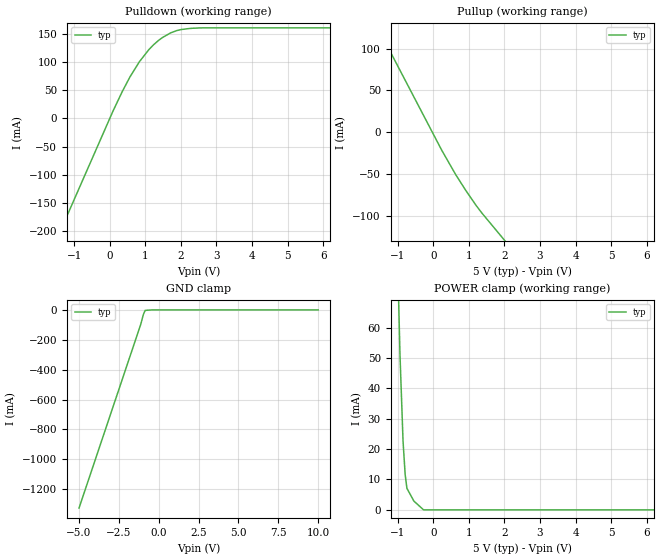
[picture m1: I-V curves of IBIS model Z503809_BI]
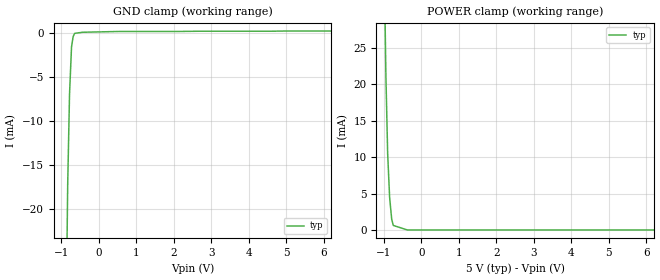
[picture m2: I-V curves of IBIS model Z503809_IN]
| YOU ARE ONLY AUTHORIZED TO USE THIS SOFTWARE
| ACCORDING TO LICENSOR'S LICENSE RESTRICTIONS.
[IBIS Ver] 3.1
[File Name] mc74ac623n.ibs
[File Rev] 2.0
[Source] Measured and created by ICX Technology
[Date] Friday 7/14/00 9:08:00 AM
[Copyright]
| (C) COPYRIGHT 1993-2000
| MENTOR GRAPHICS CORPORATION
| ICX STANDARD LIBRARY, ICX PROJECT MODELING,
| ICX CUSTOM MODELING, ICX VENDOR MODEL
| ALL RIGHTS RESERVED.
| THE FOLLOWING ARE TRADEMARKS OR SERVICE MARKS OF
| MENTOR GRAPHICS CORPORATION:ICX (R), ICX STANDARD
| LIBRARY(R), ICX PROJECT MODELING(R), ICX CUSTOM
| MODELING(R), qualityIBIS(TM), MODELVIEWER(TM),
| AND MODELEDITOR(TM)
| ALL COPIES OF SOFTWARE, INCLUDING BUT NOT LIMITED TO
| ANY MODIFICATIONS, ENHANCEMENTS OR DERIVATIVE WORKS,
| MUST CONTAIN ALL MENTOR GRAPHICS CORPORATION'S
| NOTICES AND LEGENDS, INCLUDING THOSE EMBEDDED IN
| SOFTWARE AND THOSE AFFIXED TO SOFTWARE MEDIUM
| AND CONTAINER, AS RECEIVED FROM MENTOR GRAPHICS
| CORPORATION.
|  ZAP Model Builder 2.7
[Component] MC74AC623N
[Manufacturer] OnSemiconductor
[Package]
| variable   typ   min   max
R_pkg  .216ohms NA NA
L_pkg  5.76nH NA NA
C_pkg  1.29pF NA NA
[Pin] signal_name  model_name  R_pin  L_pin C_pin
1 GAB Z503809_IN .232 9.76n 1.87p
2 A0 Z503809_BI .224 7.26n 1.58p
3 A1 Z503809_BI .216 5.26n 1.29p
4 A2 Z503809_BI .208 3.76n 1.0p
5 A3 Z503809_BI .2 2.76n .71p
6 A4 Z503809_BI .2 2.76n .71p
7 A5 Z503809_BI .208 3.76n 1.0p
8 A6 Z503809_BI .216 5.26n 1.29p
9 A7 Z503809_BI .224 7.26n 1.58p
10 GND GND .232 9.76n 1.87p
11 B7 Z503809_BI .232 9.76n 1.87p
12 B6 Z503809_BI .224 7.26n 1.58p
13 B5 Z503809_BI .216 5.26n 1.29p
14 B4 Z503809_BI .208 3.76n 1.0p
15 B3 Z503809_BI .2 2.76n .71p
16 B2 Z503809_BI .2 2.76n .71p
17 B1 Z503809_BI .208 3.76n 1.0p
18 B0 Z503809_BI .216 5.26n 1.29p
19 _GBA Z503809_IN .224 7.26n 1.58p
20 VCC POWER .232 9.76n 1.87p
| Models and submodels in the file (2): Z503809_BI (I/O), Z503809_IN (Input)
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| (C) COPYRIGHT 1993-2000
| MENTOR GRAPHICS CORPORATION
| ICX STANDARD LIBRARY, ICX PROJECT MODELING,
| ICX CUSTOM MODELING, ICX VENDOR MODEL
| ALL RIGHTS RESERVED.
| THE FOLLOWING ARE TRADEMARKS OR SERVICE MARKS OF
| MENTOR GRAPHICS CORPORATION:ICX (R), ICX STANDARD
| LIBRARY(R), ICX PROJECT MODELING(R), ICX CUSTOM
| MODELING(R), qualityIBIS(TM), MODELVIEWER(TM),
| AND MODELEDITOR(TM)
| ALL COPIES OF SOFTWARE, INCLUDING BUT NOT LIMITED TO
| ANY MODIFICATIONS, ENHANCEMENTS OR DERIVATIVE WORKS,
| MUST CONTAIN ALL MENTOR GRAPHICS CORPORATION'S
| NOTICES AND LEGENDS, INCLUDING THOSE EMBEDDED IN
| SOFTWARE AND THOSE AFFIXED TO SOFTWARE MEDIUM
| AND CONTAINER, AS RECEIVED FROM MENTOR GRAPHICS
| CORPORATION.
| Model Application Version 1.89 2/18/99.
[Model] Z503809_BI
Model_type I/O
Vinl=1.500V
Vinh=3.500V
Vref=0.000V
Rref=500.0ohms
Cref=50.00pF
Vmeas=2.500V
C_comp 8.000pF NA NA
| variable typ   min   max
[Voltage Range] 5.000V NA NA
[POWER Clamp Reference] 5.000V NA NA
[Pullup Reference] 5.000V NA NA
[Pulldown Reference] 0.000V NA NA
[GND Clamp Reference] 0.000V NA NA
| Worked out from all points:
|   slope of the pulldown table from 0 to 0.75 V, typ, clamps not added: 8.1 ohm
|   slope of the pullup table from 0 to 0.75 V, typ, clamps not added: 13.3 ohm
[GND Clamp]
-5V       -1.326A    NA         NA
-1.128V   -95.88mA   NA         NA
-966.7mV  -31.14mA   NA         NA
-853.5mV  -3.17mA    NA         NA
-426.8mV  0A         NA         NA
10V       0A         NA         NA
[Pulldown]
-5V       -721.2mA   NA         NA
92.77mV   13.35mA    NA         NA
356.4mV   48.49mA    NA         NA
566.9mV   73.78mA    NA         NA
834.9mV   101.2mA    NA         NA
1.095V    122.2mA    NA         NA
1.221V    130.6mA    NA         NA
1.489V    144.4mA    NA         NA
1.719V    152.6mA    NA         NA
2.011V    158.4mA    NA         NA
2.529V    161.3mA    NA         NA
10V       161.4mA    NA         NA
[Pullup]
-5V       404.9mA    NA         NA
239mV     -21.86mA   NA         NA
628mV     -50.77mA   NA         NA
909mV     -69.52mA   NA         NA
1.206V    -87.9mA    NA         NA
1.358V    -96.44mA   NA         NA
10V       -538.8mA   NA         NA
[POWER Clamp]
-5V       2.411A     NA         NA
-1.025V   92.51mA    NA         NA
-937mV    51.08mA    NA         NA
-851mV    22.61mA    NA         NA
-791mV    11.56mA    NA         NA
-742mV    7.078mA    NA         NA
-546mV    2.882mA    NA         NA
-273mV    0A         NA         NA
10V       0A         NA         NA
[Ramp]
| variable typ min max
dV/dt_r 2.945/815.6p NA NA
dV/dt_f 2.945/495.0p NA NA
R_load = 500.0Ohms
| (C) COPYRIGHT 1993-2000
| MENTOR GRAPHICS CORPORATION
| ICX STANDARD LIBRARY, ICX PROJECT MODELING,
| ICX CUSTOM MODELING, ICX VENDOR MODEL
| ALL RIGHTS RESERVED.
| THE FOLLOWING ARE TRADEMARKS OR SERVICE MARKS OF
| MENTOR GRAPHICS CORPORATION:ICX (R), ICX STANDARD
| LIBRARY(R), ICX PROJECT MODELING(R), ICX CUSTOM
| MODELING(R), qualityIBIS(TM), MODELVIEWER(TM),
| AND MODELEDITOR(TM)
| ALL COPIES OF SOFTWARE, INCLUDING BUT NOT LIMITED TO
| ANY MODIFICATIONS, ENHANCEMENTS OR DERIVATIVE WORKS,
| MUST CONTAIN ALL MENTOR GRAPHICS CORPORATION'S
| NOTICES AND LEGENDS, INCLUDING THOSE EMBEDDED IN
| SOFTWARE AND THOSE AFFIXED TO SOFTWARE MEDIUM
| AND CONTAINER, AS RECEIVED FROM MENTOR GRAPHICS
| CORPORATION.
| Model Application Version 1.89 2/18/99.
[Model] Z503809_IN
Model_type Input
Vinl = 1.500V
Vinh = 3.500V
C_comp 4.000pF NA NA
| variable typ   min   max
[Voltage Range] 5.000V NA NA
[GND Clamp Reference] 0.000V NA NA
[POWER Clamp Reference] 5.000V NA NA
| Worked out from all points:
|   GND clamp passes 1 mA (typ) near -0.70 V on its own axis
|   POWER clamp passes 1 mA (typ) near -0.77 V on its own axis
[GND Clamp]
-5V       -2.751A    NA         NA
-1.001V   -78.86mA   NA         NA
-829.8mV  -17.19mA   NA         NA
-781.3mV  -6.999mA   NA         NA
-727.8mV  -1.609mA   NA         NA
-684.5mV  -454uA     NA         NA
-645.4mV  -88.5uA    NA         NA
-430.3mV  41.79uA    NA         NA
551.6mV   129.1uA    NA         NA
10V       179.6uA    NA         NA
[POWER Clamp]
-5V       3.029A     NA         NA
-1.107V   96.35mA    NA         NA
-1.006V   42.25mA    NA         NA
-944mV    21mA       NA         NA
-898mV    10.54mA    NA         NA
-845mV    4.451mA    NA         NA
-790mV    1.479mA    NA         NA
-747mV    624.2uA    NA         NA
-373.5mV  0A         NA         NA
10V       0A         NA         NA
